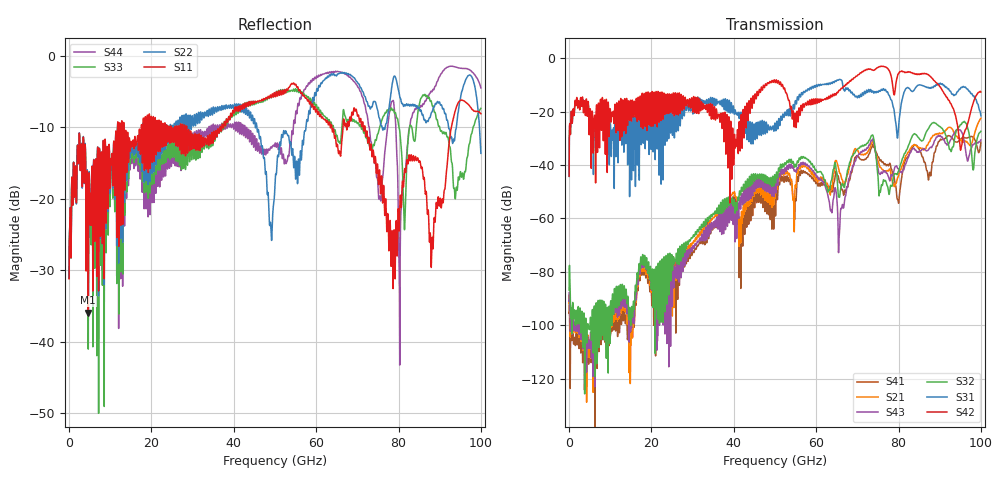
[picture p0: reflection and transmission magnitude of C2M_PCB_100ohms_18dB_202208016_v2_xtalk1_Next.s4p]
! Info: Touchstone file created by Circ.  Input file=Intel_C2M_200G_6p0in_202208016_staggered.circ
# Hz S RI R 50
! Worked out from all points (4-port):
!   10000 points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, 10 MHz to 100 GHz, reference 50 ohm
!   strongest paths, dB at 10 MHz, 25.01 GHz, 50.01 GHz, 75.01 GHz, 100 GHz:
!     S42: -44.2, -16.8, -9.0, -3.5, -12.7
!     S31: -44.3, -19.9, -24.4, -12.8, -21.6
!     S32: -86.9, -76.3, -44.6, -44.2, -27.4
!     S43: -90.7, -80.3, -46.4, -41.2, -30.6
!     S21: -91.0, -80.0, -50.2, -38.5, -22.5
!     S41: -92.5, -79.3, -53.1, -37.1, -31.4
!   lowest |S11| = -35.9 dB at 4.67 GHz (marker M1), VSWR 1.03, Z = 50.1 - j1.59 ohm
!   |S11| at or under -10 dB: start of sweep to 11.77 GHz; 28.56 GHz to 36.67 GHz (8.111 GHz wide, 24.9 % of centre); 71.86 GHz to 92.84 GHz (20.98 GHz wide, 25.5 % of centre)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
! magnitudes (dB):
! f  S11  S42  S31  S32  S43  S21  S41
! 10 MHz  -31.2  -44.2  -44.3  -86.9  -90.7  -91.0  -92.5
! 4.67 GHz  -35.9  -16.4  -17.6  -100.3  -108.5  -108.4  -112.2
! 40.32 GHz  -7.2  -32.6  -19.4  -57.8  -66.9  -51.5  -54.0
! 73.49 GHz  -13.5  -4.3  -12.8  -29.0  -30.9  -31.9  -33.5
! 76.2 GHz  -20.1  -3.0  -11.7  -46.5  -42.6  -41.8  -38.9
! 95.17 GHz  -6.2  -33.9  -11.0  -24.9  -27.3  -30.6  -30.2
! 100 GHz  -8.1  -12.7  -21.6  -27.4  -30.6  -22.5  -31.4
